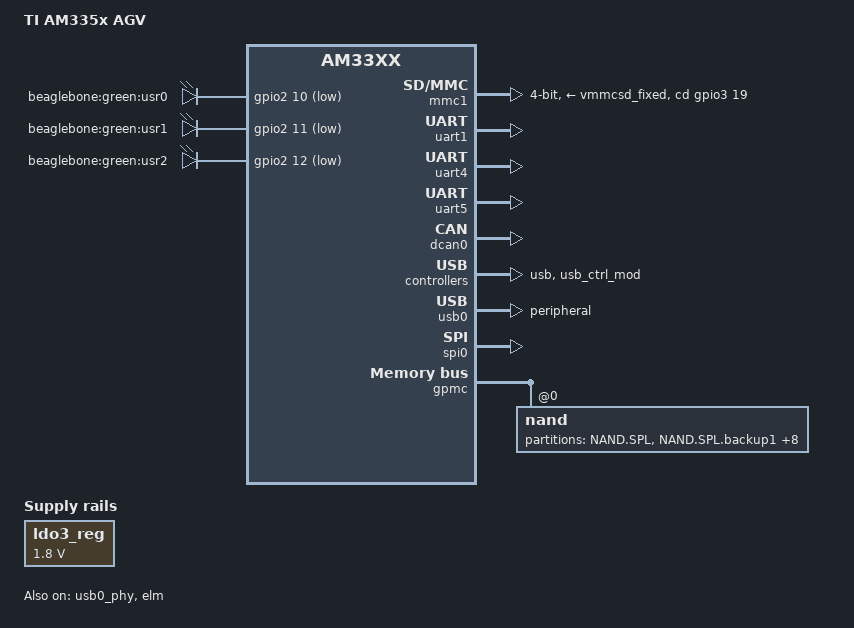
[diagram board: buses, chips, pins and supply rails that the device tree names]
/*
 * Copyright (C) 2012 Texas Instruments Incorporated - http://www.ti.com/
 *
 * This program is free software; you can redistribute it and/or modify
 * it under the terms of the GNU General Public License version 2 as
 * published by the Free Software Foundation.
 */
/dts-v1/;

#include "am33xx.dtsi"
#include "am33xx-es2.dtsi"
#include "am335x-agv-common.dtsi"

/ {
	model = "TI AM335x AGV";
	compatible = "ti,am335x-agv", "ti,am33xx";
	
	leds {
		pinctrl-names = "default";
		pinctrl-0 = <&user_leds_s0>;

		compatible = "gpio-leds";

		led@2 {
			label = "beaglebone:green:usr0";
			gpios = <&gpio2 10 GPIO_ACTIVE_LOW>;
			linux,default-trigger = "heartbeat";
			default-state = "off";
		};

		led@3 {
			label = "beaglebone:green:usr1";
			gpios = <&gpio2 11 GPIO_ACTIVE_LOW>;
			linux,default-trigger = "mmc0";
			default-state = "off";
		};

		led@4 {
			label = "beaglebone:green:usr2";
			gpios = <&gpio2 12 GPIO_ACTIVE_LOW>;
			linux,default-trigger = "cpu0";
			default-state = "off";
		};

		/* led@5 {
			label = "beaglebone:green:usr3";
			gpios = <&gpio1 24 GPIO_ACTIVE_HIGH>;
			linux,default-trigger = "mmc1";
			default-state = "off";
		}; */
	};
	
	gpio_helper {
		compatible = "gpio-of-helper";
		status = "okay";
		pinctrl-names = "default";
		pinctrl-0 = <&gpio_helper_pins>;

		/* declare your gpios */
		test_led {
			gpio-name = "test_led";
			gpio = <&gpio2 13 0x00>;	/* gpio2 13, active_low = 0 */
			output;
			init-high;
		};
		fpga_reseta {
			gpio-name = "fpga_reset_a";
			gpio = <&gpio1 16 GPIO_ACTIVE_HIGH>;
			output;
			init-low;
		};
		fpga_resetb {
			gpio-name = "fpga_reset_b";
			gpio = <&gpio1 20 GPIO_ACTIVE_HIGH>;
			output;
			init-low;
		};
	};
};

&ldo3_reg {
	regulator-min-microvolt = <1800000>;
	regulator-max-microvolt = <1800000>;
	regulator-always-on;
};

&mmc1 {
	vmmc-supply = <&vmmcsd_fixed>;
	status = "okay";
	bus-width = <0x4>;
	pinctrl-names = "default";
	pinctrl-0 = <&mmc1_pins>;
	cd-gpios = <&gpio3 19 GPIO_ACTIVE_LOW>;
	cd-inverted;
};

&uart1 {
	pinctrl-names = "default";
	pinctrl-0 = <&uart1_pins>;
	status = "okay";
};

&uart4 {
	pinctrl-names = "default";
	pinctrl-0 = <&uart4_pins>;
	status = "okay";
};

&uart5 {
	pinctrl-names = "default";
	pinctrl-0 = <&uart5_pins>;
	status = "okay";
	rts-gpio = <&gpio0 11 GPIO_ACTIVE_HIGH>;
	rs485-rts-active-high;
	rs485-rts-delay = <0 0>;
	linux,rs485-enabled-at-boot-time;
};

&dcan0 {
	pinctrl-names = "default";
	pinctrl-0 = <&dcan0_pins>;
	status = "okay";
};

&usb {
	status = "okay";
};

&usb_ctrl_mod {
	status = "okay";
};

&usb0 {
	status = "okay";
	dr_mode = "peripheral";
};

&usb0_phy {
	status = "okay";
};

&spi0 {
	status = "okay";
	pinctrl-names = "default";
	pinctrl-0 = <&bb_spi0_pins>;
	ti,pio-mode; /* disable dma when used as an overlay, dma gets stuck at 160 bits... */

	channel@0 {
		#address-cells = <1>;
		#size-cells = <0>;

		compatible = "spidev";

		reg = <0>;
		spi-max-frequency = <24000000>;
	};

	channel@1 {
		#address-cells = <1>;
		#size-cells = <0>;

		compatible = "spidev";

		reg = <1>;
		spi-max-frequency = <24000000>;
	};
};

&elm {
	status = "okay";
};

&gpmc {
	status = "okay";
	pinctrl-names = "default";
	pinctrl-0 = <&gpmc_pins>;
	ranges = <0 0 0x08000000 0x1000000>,	/* CS0: 16MB for NAND */
			 <1 0 0x10000000 0x1000000>;	/* CS1: 16MB for fpga */
	nand@0,0 {
		reg = <0 0 4>; /* CS0, offset 0, IO size 4 */
		ti,nand-ecc-opt = "bch8";
		ti,elm-id = <&elm>;
		nand-bus-width = <8>;
		gpmc,device-width = <1>;
		gpmc,sync-clk-ps = <0>;
		gpmc,cs-on-ns = <0>;
		gpmc,cs-rd-off-ns = <170>;
		gpmc,cs-wr-off-ns = <170>;
		gpmc,adv-on-ns = <50>;
		gpmc,adv-rd-off-ns = <120>;
		gpmc,adv-wr-off-ns = <120>;
		gpmc,we-on-ns = <0>;
		gpmc,we-off-ns = <90>;
		gpmc,oe-on-ns = <0>;
		gpmc,oe-off-ns = <90>;
		gpmc,access-ns = <90>;
		gpmc,rd-cycle-ns = <150>;
		gpmc,wr-cycle-ns = <150>;
		gpmc,wait-on-read = "true";
		gpmc,wait-on-write = "true";
		gpmc,bus-turnaround-ns = <0>;
		gpmc,cycle2cycle-delay-ns = <0>;
		gpmc,clk-activation-ns = <0>;
		gpmc,wait-monitoring-ns = <0>;
		gpmc,wr-access-ns = <100>;
		gpmc,wr-data-mux-bus-ns = <0>;
		/* gpmc,device-nand = "true"; */
		/* MTD partition table */
		/* All SPL-* partitions are sized to minimal length
		 * which can be independently programmable. For
		 * NAND flash this is equal to size of erase-block */
		#address-cells = <1>;
		#size-cells = <1>;
		partition@0 {
			label = "NAND.SPL";
			reg = <0x00000000 0x000020000>;		/* offset, size */
		};
		partition@1 {
			label = "NAND.SPL.backup1";
			reg = <0x00020000 0x00020000>;
		};
		partition@2 {
			label = "NAND.SPL.backup2";
			reg = <0x00040000 0x00020000>;
		};
		partition@3 {
			label = "NAND.SPL.backup3";
			reg = <0x00060000 0x00020000>;
		};
		partition@4 {
			label = "NAND.u-boot-spl-os";
			reg = <0x00080000 0x00040000>;
		};
		partition@5 {
			label = "NAND.u-boot";
			reg = <0x000C0000 0x00100000>;
		};
		partition@6 {
			label = "NAND.u-boot-env";
			reg = <0x001C0000 0x00020000>;
		};
		partition@7 {
			label = "NAND.u-boot-env.backup1";
			reg = <0x001E0000 0x00020000>;
		};
		partition@8 {
			label = "NAND.kernel";
			reg = <0x00200000 0x00800000>;
		};
		partition@9 {
			label = "NAND.file-system";
			reg = <0x00A00000 0x0F600000>;
		};
	};
};

&am33xx_pinmux {
	user_leds_s0: user_leds_s0 {
		pinctrl-single,pins = <
			AM33XX_IOPAD(0x8B0, PIN_OUTPUT | MUX_MODE7)	/* gpio2_10 */
			AM33XX_IOPAD(0x8B4, PIN_OUTPUT | MUX_MODE7)	/* gpio2_11 */
			AM33XX_IOPAD(0x8B8, PIN_OUTPUT | MUX_MODE7)	/* gpio2_12 */
		>;
	};
	uart1_pins: pinmux_uart1_pins {
		pinctrl-single,pins = <
			/* uart1_txd.uart1_txd */
			AM33XX_IOPAD(0x984, PIN_OUTPUT_PULLDOWN | MUX_MODE0)
			/* uart1_rxd.uart1_rxd */
			AM33XX_IOPAD(0x980, PIN_INPUT_PULLUP | MUX_MODE0)
		>;
	};
	uart4_pins: pinmux_uart4_pins {
		pinctrl-single,pins = <
			/* uart0_rts.uart2_txd */
			AM33XX_IOPAD(0x96c, PIN_OUTPUT_PULLDOWN | MUX_MODE1)
			/* uart0_cts.uart2_rxd */
			AM33XX_IOPAD(0x968, PIN_INPUT_PULLUP | MUX_MODE1)
		>;
	};
	uart5_pins: pinmux_uart5_pins {
		pinctrl-single,pins = <
			/* lcd_d8.uart5_txd */
			AM33XX_IOPAD(0x8C0, PIN_OUTPUT_PULLDOWN | MUX_MODE4)
			/* lcd_d9.uart5_rxd */
			AM33XX_IOPAD(0x8C4, PIN_INPUT_PULLUP | MUX_MODE4)
			/* mcasp0_aclkr GPIO0[11], OUTPUT_PULLDOWN | MODE7 --> UART5_DE */
			AM33XX_IOPAD(0x8DC, PIN_OUTPUT_PULLDOWN | MUX_MODE7)
		>;
	};
	dcan0_pins: pinmux_dcan0_pins {
		pinctrl-single,pins = <
			/* uart1_ctsn.d_can0_tx */
			AM33XX_IOPAD(0x978, PIN_OUTPUT_PULLUP | MUX_MODE2)
			/* uart1_rtsn.d_can0_rx */
			AM33XX_IOPAD(0x97C, PIN_INPUT_PULLUP | MUX_MODE2)
		>;
	};
	gpmc_pins: pinmux_gpmc_pins {
		pinctrl-single,pins = <
			0x0	(PIN_INPUT_PULLUP | MUX_MODE0)	/* gpmc_ad0.gpmc_ad0 */
			0x4	(PIN_INPUT_PULLUP | MUX_MODE0)	/* gpmc_ad1.gpmc_ad1 */
			0x8	(PIN_INPUT_PULLUP | MUX_MODE0)	/* gpmc_ad2.gpmc_ad2 */
			0xc	(PIN_INPUT_PULLUP | MUX_MODE0)	/* gpmc_ad3.gpmc_ad3 */
			0x10	(PIN_INPUT_PULLUP | MUX_MODE0)	/* gpmc_ad4.gpmc_ad4 */
			0x14	(PIN_INPUT_PULLUP | MUX_MODE0)	/* gpmc_ad5.gpmc_ad5 */
			0x18	(PIN_INPUT_PULLUP | MUX_MODE0)	/* gpmc_ad6.gpmc_ad6 */
			0x1c	(PIN_INPUT_PULLUP | MUX_MODE0)	/* gpmc_ad7.gpmc_ad7 */
			0x70	(PIN_INPUT_PULLUP | MUX_MODE0)	/* gpmc_wait0.gpmc_wait0 */
			/* 0x74	0x37 */	/* gpmc_wpn.gpio0_30 */
			0x7c	(PIN_OUTPUT | MUX_MODE0)	/* gpmc_csn0.gpmc_csn0  */
			0x90	(PIN_OUTPUT | MUX_MODE0)	/* gpmc_advn_ale.gpmc_advn_ale */
			0x94	(PIN_OUTPUT | MUX_MODE0)	/* gpmc_oen_ren.gpmc_oen_ren */
			0x98	(PIN_OUTPUT | MUX_MODE0)	/* gpmc_wen.gpmc_wen */
			0x9c	(PIN_OUTPUT | MUX_MODE0)	/* gpmc_be0n_cle.gpmc_be0n_cle */
		>;
	};
	gpio_helper_pins: pinmux_gpio_helper_pins {
		pinctrl-single,pins = <
			AM33XX_IOPAD(0X8BC, PIN_OUTPUT | MUX_MODE7)	/* LCD_D7 GPIO2[13], OUTPUT | MODE7 --> USER LED */
			AM33XX_IOPAD(0X840, PIN_OUTPUT | MUX_MODE7)	/* GPIO1[16], OUTPUT | MODE7 --> */
			AM33XX_IOPAD(0X850, PIN_OUTPUT | MUX_MODE7)	/* GPIO1[20], OUTPUT | MODE7 --> */
		>;
	};
	mmc1_pins: pinmux_mmc1_pins {
		pinctrl-single,pins = <
			AM33XX_IOPAD(0x9A4, PIN_INPUT | MUX_MODE7) /* GPIO3_19 */
		>;
	};
	/* default state has all gpios released and mode set to uart1 */
	bb_spi0_pins: pinmux_bb_spi0_pins {
		pinctrl-single,pins = <
			0x150 0x30	/* spi0_sclk.spi0_sclk, INPUT_PULLUP | MODE0 */
			0x154 0x30	/* spi0_d0.spi0_d0, INPUT_PULLUP | MODE0 */
			0x158 0x10	/* spi0_d1.spi0_d1, OUTPUT_PULLUP | MODE0 */
			0x15c 0x10	/* spi0_cs0.spi0_cs0, OUTPUT_PULLUP | MODE0 */
			0x160 0x10	/* spi0_cs0.spi0_cs0, OUTPUT_PULLUP | MODE0 */
		>;
	};
};
